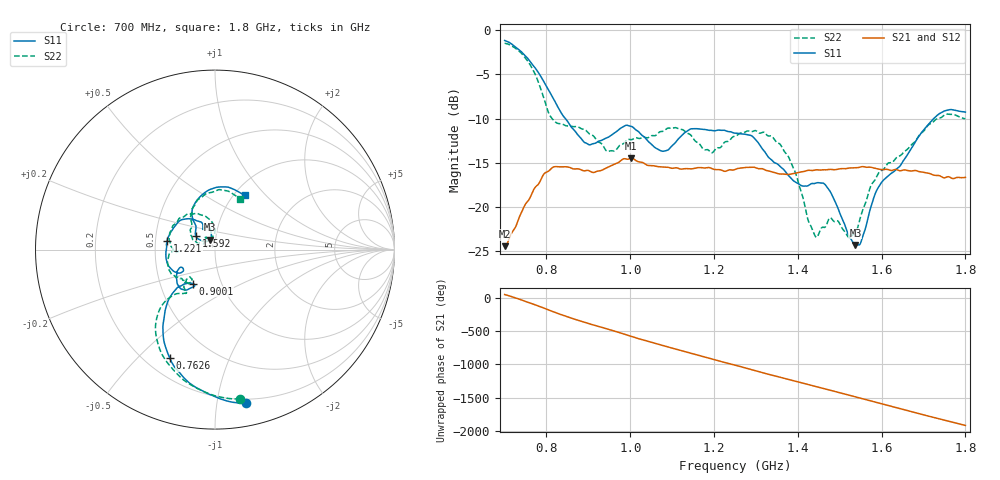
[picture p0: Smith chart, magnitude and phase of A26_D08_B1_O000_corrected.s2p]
! Created with skrf 1.9.0 (http://scikit-rf.org).
# Hz S RI R 50.0
!freq ReS11 ImS11 ReS21 ImS21 ReS12 ImS12 ReS22 ImS22
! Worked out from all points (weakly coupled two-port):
!   1601 points, 700 MHz to 1.8 GHz, reference 50 ohm
!   highest |S21| = -14.50 dB at 1.002 GHz (marker M1); lowest = -24.4 dB at 700.7 MHz (marker M2)
!   lowest |S11| = -24.3 dB at 1.537 GHz (marker M3), VSWR 1.13, Z = 47.1 + j5.15 ohm
!   |S11| at or under -10 dB: 844.8 MHz to 1.725 GHz (879.9 MHz wide, 68.5 % of centre)
!   |S22| runs from -23.5 to -1.5 dB; largest |S21 - S12| = 0.0036
!   S11 on the Smith chart (normalised r, x): 700 MHz: 0.17, -1.21; 762.6 MHz: 0.29, -0.63; 900.1 MHz: 0.73, -0.29; 1.221 GHz: 0.58, +0.06; 1.592 GHz: 0.80, +0.12; 1.8 GHz: 1.12, +0.76
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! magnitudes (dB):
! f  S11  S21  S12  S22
! 700 MHz  -1.2  -24.4  -24.2  -1.5
! 700.7 MHz  -1.2  -24.4  -24.1  -1.5
! 762.6 MHz  -3.7  -18.8  -18.7  -4.1
! 814.1 MHz  -7.6  -15.5  -15.6  -10.1
! 883.6 MHz  -12.3  -15.8  -15.7  -11.2
! 900.1 MHz  -12.9  -15.9  -15.9  -11.6
! 946.8 MHz  -12.1  -15.5  -15.5  -13.7
! 1.002 GHz  -10.9  -14.5  -14.6  -12.4
! 1.067 GHz  -13.5  -15.4  -15.4  -11.6
! 1.145 GHz  -11.2  -15.7  -15.7  -11.9
! 1.193 GHz  -11.3  -15.6  -15.6  -13.9
! 1.221 GHz  -11.3  -15.9  -15.9  -12.9
! 1.25 GHz  -11.7  -15.8  -15.7  -12.0
! 1.358 GHz  -15.4  -16.3  -16.2  -12.9
! 1.394 GHz  -17.2  -16.2  -16.2  -16.1
! 1.434 GHz  -17.4  -15.9  -15.8  -22.4
! 1.472 GHz  -17.9  -15.8  -15.8  -21.6
! 1.537 GHz  -24.3  -15.6  -15.6  -22.9
! 1.592 GHz  -17.8  -15.7  -15.7  -16.2
! 1.617 GHz  -16.4  -15.8  -15.8  -15.0
! 1.733 GHz  -9.6  -16.4  -16.5  -10.0
! 1.8 GHz  -9.3  -16.7  -16.7  -10.0
